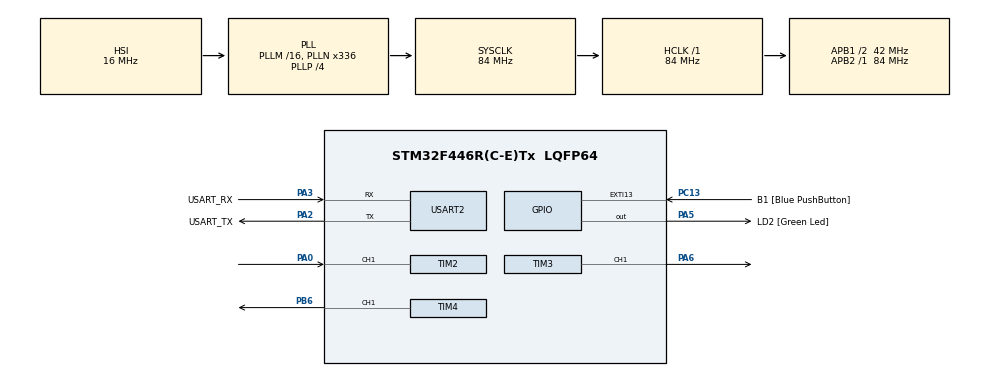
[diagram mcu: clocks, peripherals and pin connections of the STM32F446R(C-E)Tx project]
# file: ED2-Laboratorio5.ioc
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Mcu.Family=STM32F4
Mcu.Name=STM32F446R(C-E)Tx
Mcu.Package=LQFP64
NVIC.PriorityGroup=NVIC_PRIORITYGROUP_0
NVIC.TIM2_IRQn=true\:0\:0\:false\:false\:true\:true\:true\:true
PA0-WKUP.Signal=S_TIM2_CH1_ETR
PA13.GPIO_Label=TMS
PA13.Mode=Serial_Wire
PA13.Signal=SYS_JTMS-SWDIO
PA14.GPIO_Label=TCK
PA14.Mode=Serial_Wire
PA14.Signal=SYS_JTCK-SWCLK
PA2.GPIO_Label=USART_TX
PA2.Mode=Asynchronous
PA2.Signal=USART2_TX
PA3.GPIO_Label=USART_RX
PA3.Mode=Asynchronous
PA3.Signal=USART2_RX
PA5.GPIO_Label=LD2 [Green Led]
PA5.Signal=GPIO_Output
PA6.Signal=S_TIM3_CH1
PB3.GPIO_Label=SWO
PB3.Signal=SYS_JTDO-SWO
PB6.Signal=S_TIM4_CH1
PC13.GPIO_Label=B1 [Blue PushButton]
PC13.GPIO_ModeDefaultEXTI=GPIO_MODE_IT_FALLING
PC13.Signal=GPXTI13
PC14-OSC32_IN.Mode=LSE-External-Oscillator
PC14-OSC32_IN.Signal=RCC_OSC32_IN
PC15-OSC32_OUT.Mode=LSE-External-Oscillator
PC15-OSC32_OUT.Signal=RCC_OSC32_OUT
PH0-OSC_IN.Mode=HSE-External-Oscillator
PH0-OSC_IN.Signal=RCC_OSC_IN
PH1-OSC_OUT.Mode=HSE-External-Oscillator
PH1-OSC_OUT.Signal=RCC_OSC_OUT
ProjectManager.HeapSize=0x200
ProjectManager.StackSize=0x400
ProjectManager.TargetToolchain=STM32CubeIDE
RCC.48MHZClocksFreq_Value=84000000
RCC.AHBFreq_Value=84000000
RCC.APB1CLKDivider=RCC_HCLK_DIV2
RCC.APB1Freq_Value=42000000
RCC.APB1TimFreq_Value=84000000
RCC.APB2Freq_Value=84000000
RCC.APB2TimFreq_Value=84000000
RCC.CortexFreq_Value=84000000
RCC.FLatency-AdvancedSettings=FLASH_LATENCY_2
RCC.HCLKFreq_Value=84000000
RCC.HSE_VALUE=8000000
RCC.HSI_VALUE=16000000
RCC.PLLN=336
RCC.PLLP=RCC_PLLP_DIV4
RCC.SYSCLKFreq_VALUE=84000000
RCC.SYSCLKSource=RCC_SYSCLKSOURCE_PLLCLK
RCC.USBFreq_Value=168000000
RCC.VCOOutputFreq_Value=336000000
SH.S_TIM2_CH1_ETR.0=TIM2_CH1,Input_Capture1_from_TI1
SH.S_TIM3_CH1.0=TIM3_CH1,Output Compare1 CH1
SH.S_TIM4_CH1.0=TIM4_CH1,Output Compare1 CH1
TIM2.Channel-Input_Capture1_from_TI1=TIM_CHANNEL_1
TIM2.Prescaler=84-1
TIM3.Channel-Output\ Compare1\ CH1=TIM_CHANNEL_1
TIM3.OCMode_1=TIM_OCMODE_TOGGLE
TIM3.Period=2500-1
TIM3.Prescaler=8400-1
TIM3.Pulse-Output\ Compare1\ CH1=2500-1
TIM4.Channel-Output\ Compare1\ CH1=TIM_CHANNEL_1
TIM4.OCMode_1=TIM_OCMODE_TOGGLE
TIM4.Period=10000 - 1
TIM4.Prescaler=8400 - 1
TIM4.Pulse-Output\ Compare1\ CH1=250
USART2.VirtualMode=VM_ASYNC
VP_TIM2_VS_ClockSourceINT.Mode=Internal
VP_TIM3_VS_ClockSourceINT.Mode=Internal
VP_TIM4_VS_ClockSourceINT.Mode=Internal
board=NUCLEO-F446RE

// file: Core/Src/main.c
/* USER CODE BEGIN Header */
/**
  ******************************************************************************
  * @file           : main.c
  * @brief          : Main program body
  ******************************************************************************
  * @attention
  *
  * Copyright (c) 2026 STMicroelectronics.
  * All rights reserved.
  *
  * This software is licensed under terms that can be found in the LICENSE file
  * in the root directory of this software component.
  * If no LICENSE file comes with this software, it is provided AS-IS.
  *
  ******************************************************************************
  * Universidad del Valle de Guatemala
  * IE3054: Electrónica Digital 2
  * Laboratorio 5
  * Autor: Alma Lisbeth Mata Ixcayau
  * Proyecto: Laboratorio 5 - Generador de funciones
  * Descripcion: Se utilizan los timers para leer la frecuencias de un generador de funcions y generar señales PWM
  * Creado: 10/03/2026
  *
  ******************************************************************************
  */
/* USER CODE END Header */
#include "main.h"

/* USER CODE BEGIN Includes */
#include <stdint.h>
#include <stdio.h>
/* USER CODE END Includes */

/* USER CODE BEGIN PD */
#define ftimclk 1000000
/* USER CODE END PD */

TIM_HandleTypeDef htim2;
TIM_HandleTypeDef htim3;
TIM_HandleTypeDef htim4;

UART_HandleTypeDef huart2;

/* USER CODE BEGIN PV */
volatile uint8_t flagMedicion = 0;
volatile uint8_t numFlanco = 0;
volatile uint32_t flanco1 = 0;
volatile uint32_t flanco2 = 0;

volatile uint32_t delta = 0;
float frecuencia;

/* USER CODE END PV */

void SystemClock_Config(void);
static void MX_GPIO_Init(void);
static void MX_TIM2_Init(void);
static void MX_TIM3_Init(void);
static void MX_TIM4_Init(void);
static void MX_USART2_UART_Init(void);

int main(void)
{

  /* MCU Configuration--------------------------------------------------------*/

  /* Reset of all peripherals, Initializes the Flash interface and the Systick. */
  HAL_Init();

  /* Configure the system clock */
  SystemClock_Config();

  /* Initialize all configured peripherals */
  MX_GPIO_Init();
  MX_TIM2_Init();
  MX_TIM3_Init();
  MX_TIM4_Init();
  MX_USART2_UART_Init();
  /* USER CODE BEGIN 2 */
  HAL_TIM_IC_Start_IT(&htim2, TIM_CHANNEL_1);

  HAL_TIM_OC_Start(&htim3, TIM_CHANNEL_1);
  HAL_TIM_OC_Start(&htim4, TIM_CHANNEL_1);
  /* USER CODE END 2 */

  /* Infinite loop */
  /* USER CODE BEGIN WHILE */
  while (1)
  {
	  if (flagMedicion == 1)
	  {
		  flagMedicion = 0;

		  char buffer[50];
		  int len = snprintf(buffer, sizeof(buffer), "Freq: %.2f Hz\r\n", frecuencia);
		  HAL_UART_Transmit(&huart2, (uint8_t*)buffer, len, HAL_MAX_DELAY);
	  }
    /* USER CODE END WHILE */

  }
}

void SystemClock_Config(void)
{
  RCC_OscInitTypeDef RCC_OscInitStruct = {0};
  RCC_ClkInitTypeDef RCC_ClkInitStruct = {0};

  /** Configure the main internal regulator output voltage
  */
  __HAL_RCC_PWR_CLK_ENABLE();
  __HAL_PWR_VOLTAGESCALING_CONFIG(PWR_REGULATOR_VOLTAGE_SCALE3);

  /** Initializes the RCC Oscillators according to the specified parameters
  * in the RCC_OscInitTypeDef structure.
  */
  RCC_OscInitStruct.OscillatorType = RCC_OSCILLATORTYPE_HSI;
  RCC_OscInitStruct.HSIState = RCC_HSI_ON;
  RCC_OscInitStruct.HSICalibrationValue = RCC_HSICALIBRATION_DEFAULT;
  RCC_OscInitStruct.PLL.PLLState = RCC_PLL_ON;
  RCC_OscInitStruct.PLL.PLLSource = RCC_PLLSOURCE_HSI;
  RCC_OscInitStruct.PLL.PLLM = 16;
  RCC_OscInitStruct.PLL.PLLN = 336;
  RCC_OscInitStruct.PLL.PLLP = RCC_PLLP_DIV4;
  RCC_OscInitStruct.PLL.PLLQ = 2;
  RCC_OscInitStruct.PLL.PLLR = 2;
  if (HAL_RCC_OscConfig(&RCC_OscInitStruct) != HAL_OK)
  {
    Error_Handler();
  }

  /** Initializes the CPU, AHB and APB buses clocks
  */
  RCC_ClkInitStruct.ClockType = RCC_CLOCKTYPE_HCLK|RCC_CLOCKTYPE_SYSCLK
                              |RCC_CLOCKTYPE_PCLK1|RCC_CLOCKTYPE_PCLK2;
  RCC_ClkInitStruct.SYSCLKSource = RCC_SYSCLKSOURCE_PLLCLK;
  RCC_ClkInitStruct.AHBCLKDivider = RCC_SYSCLK_DIV1;
  RCC_ClkInitStruct.APB1CLKDivider = RCC_HCLK_DIV2;
  RCC_ClkInitStruct.APB2CLKDivider = RCC_HCLK_DIV1;

  if (HAL_RCC_ClockConfig(&RCC_ClkInitStruct, FLASH_LATENCY_2) != HAL_OK)
  {
    Error_Handler();
  }
}

static void MX_TIM2_Init(void)
{

  TIM_ClockConfigTypeDef sClockSourceConfig = {0};
  TIM_MasterConfigTypeDef sMasterConfig = {0};
  TIM_IC_InitTypeDef sConfigIC = {0};

  htim2.Instance = TIM2;
  htim2.Init.Prescaler = 84-1;
  htim2.Init.CounterMode = TIM_COUNTERMODE_UP;
  htim2.Init.Period = 4294967295;
  htim2.Init.ClockDivision = TIM_CLOCKDIVISION_DIV1;
  htim2.Init.AutoReloadPreload = TIM_AUTORELOAD_PRELOAD_DISABLE;
  if (HAL_TIM_Base_Init(&htim2) != HAL_OK)
  {
    Error_Handler();
  }
  sClockSourceConfig.ClockSource = TIM_CLOCKSOURCE_INTERNAL;
  if (HAL_TIM_ConfigClockSource(&htim2, &sClockSourceConfig) != HAL_OK)
  {
    Error_Handler();
  }
  if (HAL_TIM_IC_Init(&htim2) != HAL_OK)
  {
    Error_Handler();
  }
  sMasterConfig.MasterOutputTrigger = TIM_TRGO_RESET;
  sMasterConfig.MasterSlaveMode = TIM_MASTERSLAVEMODE_DISABLE;
  if (HAL_TIMEx_MasterConfigSynchronization(&htim2, &sMasterConfig) != HAL_OK)
  {
    Error_Handler();
  }
  sConfigIC.ICPolarity = TIM_INPUTCHANNELPOLARITY_RISING;
  sConfigIC.ICSelection = TIM_ICSELECTION_DIRECTTI;
  sConfigIC.ICPrescaler = TIM_ICPSC_DIV1;
  sConfigIC.ICFilter = 0;
  if (HAL_TIM_IC_ConfigChannel(&htim2, &sConfigIC, TIM_CHANNEL_1) != HAL_OK)
  {
    Error_Handler();
  }

}

static void MX_TIM3_Init(void)
{

  TIM_ClockConfigTypeDef sClockSourceConfig = {0};
  TIM_MasterConfigTypeDef sMasterConfig = {0};
  TIM_OC_InitTypeDef sConfigOC = {0};

  htim3.Instance = TIM3;
  htim3.Init.Prescaler = 8400-1;
  htim3.Init.CounterMode = TIM_COUNTERMODE_UP;
  htim3.Init.Period = 2500-1;
  htim3.Init.ClockDivision = TIM_CLOCKDIVISION_DIV1;
  htim3.Init.AutoReloadPreload = TIM_AUTORELOAD_PRELOAD_DISABLE;
  if (HAL_TIM_Base_Init(&htim3) != HAL_OK)
  {
    Error_Handler();
  }
  sClockSourceConfig.ClockSource = TIM_CLOCKSOURCE_INTERNAL;
  if (HAL_TIM_ConfigClockSource(&htim3, &sClockSourceConfig) != HAL_OK)
  {
    Error_Handler();
  }
  if (HAL_TIM_OC_Init(&htim3) != HAL_OK)
  {
    Error_Handler();
  }
  sMasterConfig.MasterOutputTrigger = TIM_TRGO_RESET;
  sMasterConfig.MasterSlaveMode = TIM_MASTERSLAVEMODE_DISABLE;
  if (HAL_TIMEx_MasterConfigSynchronization(&htim3, &sMasterConfig) != HAL_OK)
  {
    Error_Handler();
  }
  sConfigOC.OCMode = TIM_OCMODE_TOGGLE;
  sConfigOC.Pulse = 2500-1;
  sConfigOC.OCPolarity = TIM_OCPOLARITY_HIGH;
  sConfigOC.OCFastMode = TIM_OCFAST_DISABLE;
  if (HAL_TIM_OC_ConfigChannel(&htim3, &sConfigOC, TIM_CHANNEL_1) != HAL_OK)
  {
    Error_Handler();
  }
  HAL_TIM_MspPostInit(&htim3);

}

static void MX_TIM4_Init(void)
{

  TIM_ClockConfigTypeDef sClockSourceConfig = {0};
  TIM_MasterConfigTypeDef sMasterConfig = {0};
  TIM_OC_InitTypeDef sConfigOC = {0};

  htim4.Instance = TIM4;
  htim4.Init.Prescaler = 8400 - 1;
  htim4.Init.CounterMode = TIM_COUNTERMODE_UP;
  htim4.Init.Period = 10000 - 1;
  htim4.Init.ClockDivision = TIM_CLOCKDIVISION_DIV1;
  htim4.Init.AutoReloadPreload = TIM_AUTORELOAD_PRELOAD_DISABLE;
  if (HAL_TIM_Base_Init(&htim4) != HAL_OK)
  {
    Error_Handler();
  }
  sClockSourceConfig.ClockSource = TIM_CLOCKSOURCE_INTERNAL;
  if (HAL_TIM_ConfigClockSource(&htim4, &sClockSourceConfig) != HAL_OK)
  {
    Error_Handler();
  }
  if (HAL_TIM_OC_Init(&htim4) != HAL_OK)
  {
    Error_Handler();
  }
  sMasterConfig.MasterOutputTrigger = TIM_TRGO_RESET;
  sMasterConfig.MasterSlaveMode = TIM_MASTERSLAVEMODE_DISABLE;
  if (HAL_TIMEx_MasterConfigSynchronization(&htim4, &sMasterConfig) != HAL_OK)
  {
    Error_Handler();
  }
  sConfigOC.OCMode = TIM_OCMODE_TOGGLE;
  sConfigOC.Pulse = 250;
  sConfigOC.OCPolarity = TIM_OCPOLARITY_HIGH;
  sConfigOC.OCFastMode = TIM_OCFAST_DISABLE;
  if (HAL_TIM_OC_ConfigChannel(&htim4, &sConfigOC, TIM_CHANNEL_1) != HAL_OK)
  {
    Error_Handler();
  }
  HAL_TIM_MspPostInit(&htim4);

}

static void MX_USART2_UART_Init(void)
{

  huart2.Instance = USART2;
  huart2.Init.BaudRate = 115200;
  huart2.Init.WordLength = UART_WORDLENGTH_8B;
  huart2.Init.StopBits = UART_STOPBITS_1;
  huart2.Init.Parity = UART_PARITY_NONE;
  huart2.Init.Mode = UART_MODE_TX_RX;
  huart2.Init.HwFlowCtl = UART_HWCONTROL_NONE;
  huart2.Init.OverSampling = UART_OVERSAMPLING_16;
  if (HAL_UART_Init(&huart2) != HAL_OK)
  {
    Error_Handler();
  }

}

static void MX_GPIO_Init(void)
{
  GPIO_InitTypeDef GPIO_InitStruct = {0};

  /* GPIO Ports Clock Enable */
  __HAL_RCC_GPIOC_CLK_ENABLE();
  __HAL_RCC_GPIOH_CLK_ENABLE();
  __HAL_RCC_GPIOA_CLK_ENABLE();
  __HAL_RCC_GPIOB_CLK_ENABLE();

  /*Configure GPIO pin Output Level */
  HAL_GPIO_WritePin(LD2_GPIO_Port, LD2_Pin, GPIO_PIN_RESET);

  /*Configure GPIO pin : B1_Pin */
  GPIO_InitStruct.Pin = B1_Pin;
  GPIO_InitStruct.Mode = GPIO_MODE_IT_FALLING;
  GPIO_InitStruct.Pull = GPIO_NOPULL;
  HAL_GPIO_Init(B1_GPIO_Port, &GPIO_InitStruct);

  /*Configure GPIO pin : LD2_Pin */
  GPIO_InitStruct.Pin = LD2_Pin;
  GPIO_InitStruct.Mode = GPIO_MODE_OUTPUT_PP;
  GPIO_InitStruct.Pull = GPIO_NOPULL;
  GPIO_InitStruct.Speed = GPIO_SPEED_FREQ_LOW;
  HAL_GPIO_Init(LD2_GPIO_Port, &GPIO_InitStruct);

}

/* USER CODE BEGIN 4 */
void HAL_TIM_IC_CaptureCallback(TIM_HandleTypeDef *htim){
	if (htim->Instance == TIM2 && htim->Channel == HAL_TIM_ACTIVE_CHANNEL_1)
	    {
	        if (numFlanco == 0)
	        {
	            flanco1 = HAL_TIM_ReadCapturedValue(htim, TIM_CHANNEL_1);
	            numFlanco = 1;
	        }
	        else
	        {
	            flanco2 = HAL_TIM_ReadCapturedValue(htim, TIM_CHANNEL_1);

	            if (flanco2 > flanco1)
	                delta = flanco2 - flanco1;
	            else
	                delta = (0xFFFFFFFF - flanco1) + flanco2 + 1;

	            frecuencia = (float)ftimclk / (float)delta;  // ftimclk = 1000000
	            numFlanco = 0;
	            flagMedicion = 1;
	        }
	    }
}
/* USER CODE END 4 */

void Error_Handler(void)
{
  __disable_irq();
  while (1)
  {
  }
}
